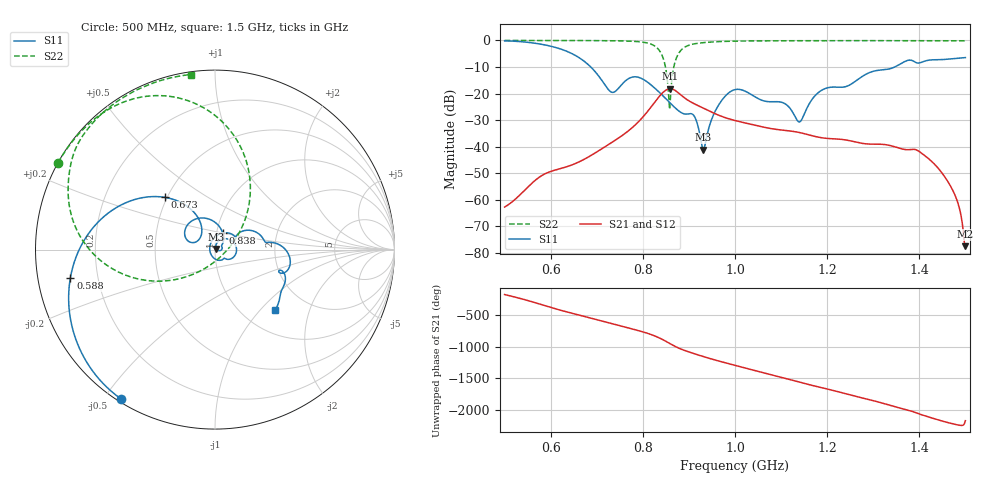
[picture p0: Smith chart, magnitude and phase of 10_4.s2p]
! TOUCHSTONE file generated by CST MICROWAVE STUDIO
! Date and time: Wed Oct 28 19:15:10 2020
! Project name: Scenario_1_Circular_Tissue_out_of_Line.cst
! Parameters = {dy1=-189.931; L_HA=400; MT=2.54; Rad_Dielectric=30; Rad_Lower=7.3; Rad_Upper=30; a_HA=580; a_WG=246; b_HA=500; b_WG=121; c_HA=0; c_WG=187; d_feed=85; dx1=693; h_feed=15; h_lower=18; h_upper=40}
! Header version: 2018
! Port assignment regex: !\s*Touchstone port\s*([0-9]+)\s*=\s*(CST MWS port|CST DS port)\s*([0-9]+|Zmin|Zmax)\s*\(\"(.*)\"\)(\s*mode\s*([0-9]+))?.*
! Touchstone port assignment:
! Touchstone port 1 = CST MWS port 1 ("")
! Touchstone port 2 = CST MWS port 2 ("")
# GHz S DB R 50
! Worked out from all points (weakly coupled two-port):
!   1001 points, 500 MHz to 1.5 GHz, reference 50 ohm
!   highest |S21| = -18.21 dB at 859 MHz (marker M1); lowest = -77.5 dB at 1.499 GHz (marker M2)
!   lowest |S11| = -41.2 dB at 931 MHz (marker M3), VSWR 1.02, Z = 50.8 + j0.38 ohm
!   |S11| at or under -10 dB: 687 MHz to 1.347 GHz (659.6 MHz wide, 64.9 % of centre)
!   |S22| runs from -26.0 to 0.0 dB; largest |S21 - S12| = 8.6e-06
!   S11 on the Smith chart (normalised r, x): 500 MHz: 0.01, -0.55; 588 MHz: 0.10, -0.10; 673 MHz: 0.49, +0.34; 838 MHz: 1.07, +0.20; 1.5 GHz: 1.40, -1.21
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0.5  -0.15 -122.3  -62.76 -172.9  -62.76 -172.9  -0.01 151.1
0.588  -1.71 -168.9  -50.22 8.8  -50.22 8.8  -0.02 145.0
0.667  -7.12 137.9  -45.29 -147.7  -45.29 -147.7  -0.04 138.4
0.673  -7.88 133.8  -44.75 -159.0  -44.75 -159.0  -0.05 137.8
0.732  -19.49 140.2  -38.50 87.5  -38.50 87.5  -0.11 130.6
0.783  -13.70 134.0  -31.91 -9.1  -31.91 -9.1  -0.37 119.3
0.834  -19.25 68.6  -21.42 -133.9  -21.42 -133.9  -3.37 83.6
0.838  -19.91 64.5  -20.60 -147.6  -20.60 -147.6  -4.36 77.3
0.859  -23.53 45.4  -18.21 130.0  -18.21 130.0  -24.13 -84.9
0.879  -26.69 33.8  -20.03 55.5  -20.03 55.5  -4.52 -170.5
0.911  -28.37 2.2  -23.80 -27.9  -23.80 -27.9  -1.31 161.5
0.931  -41.20 25.4  -25.49 -74.1  -25.49 -74.1  -0.84 153.9
0.961  -25.35 66.0  -27.91 -137.9  -27.91 -137.9  -0.47 146.7
1  -18.52 8.2  -30.17 146.3  -30.17 146.3  -0.26 140.3
1.106  -23.61 -64.7  -33.85 -53.7  -33.85 -53.7  -0.12 129.2
1.139  -30.71 -170.6  -34.66 -117.8  -34.66 -117.8  -0.11 126.5
1.167  -22.26 83.7  -35.88 -170.7  -35.88 -170.7  -0.09 124.2
1.334  -10.77 8.0  -39.48 -121.6  -39.48 -121.6  -0.09 111.5
1.445  -7.24 -31.2  -48.99 -6.1  -48.99 -6.1  -0.11 102.6
1.481  -6.73 -39.6  -59.85 -73.4  -59.85 -73.4  -0.12 99.6
1.499  -6.48 -44.7  -77.50 -32.3  -77.67 -31.0  -0.13 98.0
1.5  -6.46 -45.0  -76.86 -10.4  -76.93 -8.8  -0.13 97.9
